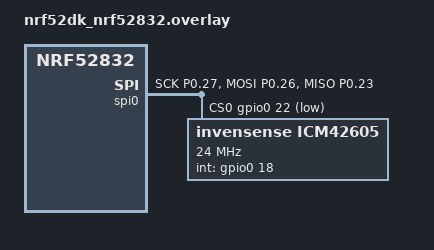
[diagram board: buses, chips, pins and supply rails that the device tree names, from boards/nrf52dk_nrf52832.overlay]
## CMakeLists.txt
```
#
# Copyright (c) 2019 TDK Invensense
#
# SPDX-License-Identifier: Apache-2.0
#

cmake_minimum_required(VERSION 3.28.0)
find_package(Zephyr REQUIRED HINTS $ENV{ZEPHYR_BASE})
project(icm42605)

FILE(GLOB app_sources src/*.c)
target_sources(app PRIVATE ${app_sources})
```

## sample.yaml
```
#
# Copyright (c) 2020 TDK Invensense
#
# SPDX-License-Identifier: Apache-2.0
#

sample:
  name: ICM42605 Sensor Sample
tests:
  sample.sensor.icm42605:
    build_only: true
    platform_allow:
      - nrf52dk/nrf52832
    integration_platforms:
      - nrf52dk/nrf52832
    tags: sensors
```

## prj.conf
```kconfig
#
# Copyright (c) 2019 Nordic Semiconductor ASA
#
# SPDX-License-Identifier: Apache-2.0
#

CONFIG_SPI=y
CONFIG_SENSOR=y
```

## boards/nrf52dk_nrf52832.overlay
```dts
/*
 * Copyright (c) 2020 TDK Invensense
 *
 * SPDX-License-Identifier: Apache-2.0
 */

&pinctrl {
	spi0_default_alt: spi0_default_alt {
		group1 {
			psels = <NRF_PSEL(SPIM_SCK, 0, 27)>,
				<NRF_PSEL(SPIM_MOSI, 0, 26)>,
				<NRF_PSEL(SPIM_MISO, 0, 23)>;
		};
	};

	spi0_sleep_alt: spi0_sleep_alt {
		group1 {
			psels = <NRF_PSEL(SPIM_SCK, 0, 27)>,
				<NRF_PSEL(SPIM_MOSI, 0, 26)>,
				<NRF_PSEL(SPIM_MISO, 0, 23)>;
			low-power-enable;
		};
	};
};

&spi0 {
	compatible = "nordic,nrf-spi";
	pinctrl-0 = <&spi0_default_alt>;
	pinctrl-1 = <&spi0_sleep_alt>;
	pinctrl-names = "default", "sleep";
	cs-gpios = <&gpio0 22 GPIO_ACTIVE_LOW>;
	status = "okay";

	icm42605@0 {
		compatible = "invensense,icm42605";
		reg = <0>;
		spi-max-frequency = <24000000>;
		int-gpios = <&gpio0 18 GPIO_ACTIVE_HIGH>;
	};
};
```

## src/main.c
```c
/*
 * Copyright (c) 2020 TDK Invensense
 *
 * SPDX-License-Identifier: Apache-2.0
 */

#include <zephyr/kernel.h>
#include <zephyr/device.h>
#include <zephyr/drivers/sensor.h>
#include <stdio.h>

static const char *now_str(void)
{
	static char buf[16]; /* ...HH:MM:SS.MMM */
	uint32_t now = k_uptime_get_32();
	unsigned int ms = now % MSEC_PER_SEC;
	unsigned int s;
	unsigned int min;
	unsigned int h;

	now /= MSEC_PER_SEC;
	s = now % 60U;
	now /= 60U;
	min = now % 60U;
	now /= 60U;
	h = now;

	snprintf(buf, sizeof(buf), "%u:%02u:%02u.%03u",
		 h, min, s, ms);
	return buf;
}

static int process_icm42605(const struct device *dev)
{
	struct sensor_value temperature;
	struct sensor_value accel[3];
	struct sensor_value gyro[3];
	int rc = sensor_sample_fetch(dev);

	if (rc == 0) {
		rc = sensor_channel_get(dev, SENSOR_CHAN_ACCEL_XYZ,
					accel);
	}
	if (rc == 0) {
		rc = sensor_channel_get(dev, SENSOR_CHAN_GYRO_XYZ,
					gyro);
	}
	if (rc == 0) {
		rc = sensor_channel_get(dev, SENSOR_CHAN_DIE_TEMP,
					&temperature);
	}
	if (rc == 0) {
		printf("[%s]:% g Cel\n"
		       "  accel % f % f % f m/s/s\n"
		       "  gyro  % f % f % f rad/s\n",
		       now_str(),
		       sensor_value_to_double(&temperature),
		       sensor_value_to_double(&accel[0]),
		       sensor_value_to_double(&accel[1]),
		       sensor_value_to_double(&accel[2]),
		       sensor_value_to_double(&gyro[0]),
		       sensor_value_to_double(&gyro[1]),
		       sensor_value_to_double(&gyro[2]));
	} else {
		printf("sample fetch/get failed: %d\n", rc);
	}

	return rc;
}

static struct sensor_trigger data_trigger;
static struct sensor_trigger tap_trigger;
static struct sensor_trigger double_tap_trigger;

static void handle_icm42605_drdy(const struct device *dev,
				 const struct sensor_trigger *trig)
{
	int rc = process_icm42605(dev);

	if (rc != 0) {
		printf("cancelling trigger due to failure: %d\n", rc);
		(void)sensor_trigger_set(dev, trig, NULL);
		return;
	}
}

static void handle_icm42605_tap(const struct device *dev,
				const struct sensor_trigger *trig)
{
	printf("Tap Detected!\n");
}

static void handle_icm42605_double_tap(const struct device *dev,
				       const struct sensor_trigger *trig)
{
	printf("Double Tap detected!\n");
}

int main(void)
{
	const struct device *const icm42605 = DEVICE_DT_GET_ONE(invensense_icm42605);

	if (!device_is_ready(icm42605)) {
		printk("sensor: device not ready.\n");
		return 0;
	}

	tap_trigger = (struct sensor_trigger) {
		.type = SENSOR_TRIG_TAP,
		.chan = SENSOR_CHAN_ALL,
	};

	if (sensor_trigger_set(icm42605, &tap_trigger,
			       handle_icm42605_tap) < 0) {
		printf("Cannot configure tap trigger!!!\n");
		return 0;
	}

	double_tap_trigger = (struct sensor_trigger) {
		.type = SENSOR_TRIG_DOUBLE_TAP,
		.chan = SENSOR_CHAN_ALL,
	};

	if (sensor_trigger_set(icm42605, &double_tap_trigger,
			       handle_icm42605_double_tap) < 0) {
		printf("Cannot configure double tap trigger!!!\n");
		return 0;
	}

	data_trigger = (struct sensor_trigger) {
		.type = SENSOR_TRIG_DATA_READY,
		.chan = SENSOR_CHAN_ALL,
	};

	if (sensor_trigger_set(icm42605, &data_trigger,
			       handle_icm42605_drdy) < 0) {
		printf("Cannot configure data trigger!!!\n");
		return 0;
	}

	printf("Configured for triggered sampling.\n");
	return 0;
}
```
